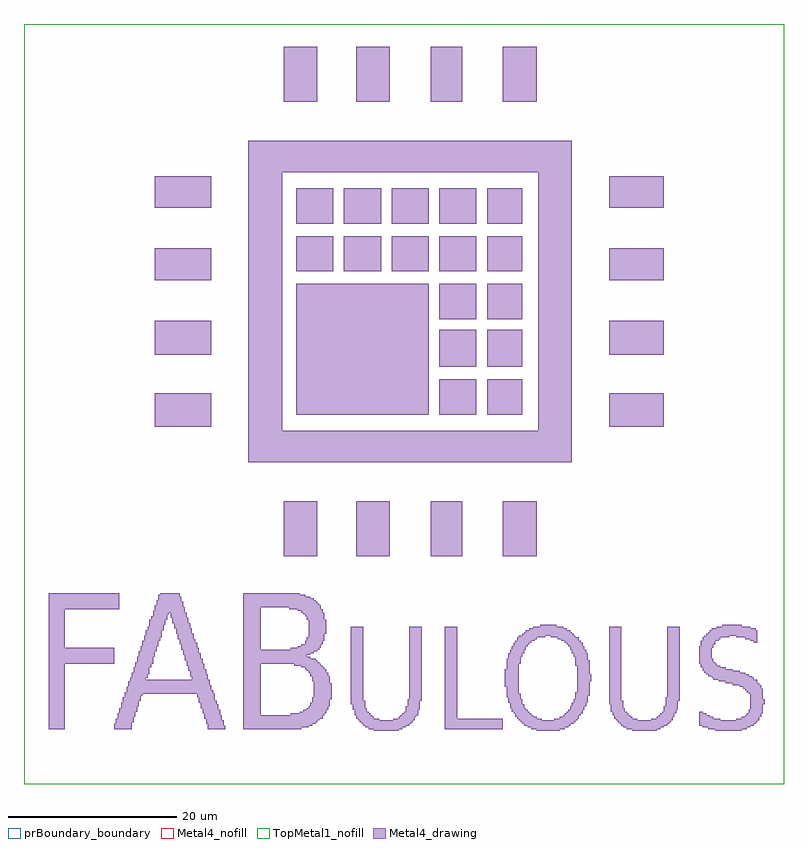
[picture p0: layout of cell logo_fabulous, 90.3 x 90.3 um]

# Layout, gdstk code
import gdstk
lib = gdstk.Library(unit=1e-6, precision=1e-09)
def R(c, l, rs):  # rectangles x0, y0, x1, y1
    for r in rs: c.add(gdstk.rectangle(r[:2], r[2:], *l))
def A(c, l, x, y, w, h, nx, ny, dx, dy):  # array of equal rectangles
    R(c, l, [(x+i*dx, y+j*dy, x+i*dx+w, y+j*dy+h) for i in range(nx) for j in range(ny)])
def P(c, l, *ps):  # polygons
    for p in ps: c.add(gdstk.Polygon(p, *l))
Metal4_drawing = (50, 0)
Metal4_nofill = (50, 23)
TopMetal1_nofill = (126, 23)
prBoundary_boundary = (189, 4)

logo_fabulous = lib.new_cell('logo_fabulous')
A(logo_fabulous, Metal4_drawing, 55.02, 55.23, 4.2, 4.2, 1, 3, 0, 5.67)
A(logo_fabulous, Metal4_drawing, 32.34, 60.9, 4.41, 4.2, 4, 2, 5.67, 5.67)
R(logo_fabulous, Metal4_drawing, [(30.87,27.09,34.86,33.6), (39.48,27.09,43.47,33.6), (48.3,27.09,52.08,33.6), (56.91,27.09,60.9,33.6), (15.54,42.42,22.26,46.41), (69.51,42.42,76.02,46.41), (32.34,43.89,48.09,59.43), (49.35,43.89,53.76,48.09), (55.02,43.89,59.22,48.09), (49.35,49.56,53.76,53.97), (55.02,49.56,59.22,53.97), (15.54,51.03,22.26,55.02), (69.51,51.03,76.02,55.02), (49.35,55.23,53.76,59.43), (15.54,59.85,22.26,63.63), (69.51,59.85,76.02,63.63), (15.54,68.46,22.26,72.24), (69.51,68.46,76.02,72.24), (30.87,81.06,34.86,87.57), (39.48,81.06,43.47,87.57), (48.3,81.06,52.08,87.57), (56.91,81.06,60.9,87.57)])
P(logo_fabulous, Metal4_drawing, [(41.58,6.3),(41.58,6.51),(40.95,6.51),(40.95,6.72),(40.53,6.72),(40.53,6.93),(40.32,6.93),(40.32,7.14),(40.11,7.14),(40.11,7.35),(39.9,7.35),(39.9,7.56),(39.69,7.56),(39.69,7.77),(39.48,7.77),(39.48,8.19),(39.27,8.19),(39.27,8.82),(39.06,8.82),(39.06,9.45),(38.85,9.45),(38.85,18.69),(40.32,18.69),(40.32,9.87),(40.53,9.87),(40.53,9.03),(40.74,9.03),(40.74,8.61),(40.95,8.61),(40.95,8.4),(41.16,8.4),(41.16,8.19),(41.37,8.19),(41.37,7.98),(41.58,7.98),(41.58,7.77),(42.21,7.77),(42.21,7.56),(43.89,7.56),(43.89,7.77),(44.52,7.77),(44.52,7.98),(44.73,7.98),(44.73,8.19),(44.94,8.19),(44.94,8.4),(45.15,8.4),(45.15,8.61),(45.36,8.61),(45.36,9.24),(45.57,9.24),(45.57,10.08),(45.78,10.08),(45.78,18.69),(47.25,18.69),(47.25,9.87),(47.04,9.87),(47.04,8.82),(46.83,8.82),(46.83,8.19),(46.62,8.19),(46.62,7.98),(46.41,7.98),(46.41,7.56),(46.2,7.56),(46.2,7.35),(45.99,7.35),(45.99,7.14),(45.78,7.14),(45.78,6.93),(45.36,6.93),(45.36,6.72),(44.94,6.72),(44.94,6.51),(44.52,6.51),(44.52,6.3)],
  [(49.98,6.51),(49.98,18.69),(51.45,18.69),(51.45,7.77),(56.91,7.77),(56.91,6.51)],
  [(72.24,6.3),(72.24,6.51),(71.61,6.51),(71.61,6.72),(71.19,6.72),(71.19,6.93),(70.98,6.93),(70.98,7.14),(70.77,7.14),(70.77,7.35),(70.56,7.35),(70.56,7.56),(70.35,7.56),(70.35,7.77),(70.14,7.77),(70.14,8.19),(69.93,8.19),(69.93,8.61),(69.72,8.61),(69.72,9.45),(69.51,9.45),(69.51,18.69),(70.98,18.69),(70.98,9.87),(71.19,9.87),(71.19,9.03),(71.4,9.03),(71.4,8.61),(71.61,8.61),(71.61,8.4),(71.82,8.4),(71.82,8.19),(72.03,8.19),(72.03,7.98),(72.24,7.98),(72.24,7.77),(72.87,7.77),(72.87,7.56),(74.55,7.56),(74.55,7.77),(75.18,7.77),(75.18,7.98),(75.39,7.98),(75.39,8.19),(75.6,8.19),(75.6,8.4),(75.81,8.4),(75.81,8.61),(76.02,8.61),(76.02,9.24),(76.23,9.24),(76.23,10.29),(76.44,10.29),(76.44,18.69),(77.91,18.69),(77.91,9.87),(77.7,9.87),(77.7,8.82),(77.49,8.82),(77.49,8.4),(77.28,8.4),(77.28,7.98),(77.07,7.98),(77.07,7.56),(76.86,7.56),(76.86,7.35),(76.65,7.35),(76.65,7.14),(76.44,7.14),(76.44,6.93),(76.02,6.93),(76.02,6.72),(75.6,6.72),(75.6,6.51),(75.18,6.51),(75.18,6.3)],
  [(60.9,6.3),(60.9,6.51),(60.27,6.51),(60.27,6.72),(59.85,6.72),(59.85,6.93),(59.43,6.93),(59.43,7.14),(59.22,7.14),(59.22,7.35),(59.01,7.35),(59.01,7.56),(58.8,7.56),(58.8,7.77),(58.59,7.77),(58.59,7.98),(58.38,7.98),(58.38,8.4),(58.17,8.4),(58.17,8.61),(57.96,8.61),(57.96,9.03),(57.75,9.03),(57.75,9.66),(57.54,9.66),(57.54,10.29),(57.33,10.29),(57.33,11.55),(57.12,11.55),(57.12,13.65),(57.33,13.65),(57.33,14.91),(57.54,14.91),(57.54,15.54),(57.75,15.54),(57.75,15.96),(57.96,15.96),(57.96,16.38),(58.17,16.38),(58.17,16.8),(58.38,16.8),(58.38,17.01),(58.59,17.01),(58.59,17.43),(58.8,17.43),(58.8,17.64),(61.95,17.64),(61.95,17.43),(60.9,17.43),(60.9,17.22),(60.69,17.22),(60.69,17.01),(60.27,17.01),(60.27,16.8),(60.06,16.8),(60.06,16.59),(59.85,16.59),(59.85,16.38),(59.64,16.38),(59.64,15.96),(59.43,15.96),(59.43,15.54),(59.22,15.54),(59.22,15.12),(59.01,15.12),(59.01,14.28),(58.8,14.28),(58.8,10.71),(59.01,10.71),(59.01,10.08),(59.22,10.08),(59.22,9.45),(59.43,9.45),(59.43,9.03),(59.64,9.03),(59.64,8.82),(59.85,8.82),(59.85,8.61),(60.06,8.61),(60.06,8.4),(60.27,8.4),(60.27,8.19),(60.48,8.19),(60.48,7.98),(60.9,7.98),(60.9,7.77),(61.53,7.77),(61.53,7.56),(63,7.56),(63,7.77),(63.63,7.77),(63.63,7.98),(64.05,7.98),(64.05,8.19),(64.26,8.19),(64.26,8.4),(64.47,8.4),(64.47,8.61),(64.68,8.61),(64.68,8.82),(64.89,8.82),(64.89,9.24),(65.1,9.24),(65.1,9.66),(65.31,9.66),(65.31,10.08),(65.52,10.08),(65.52,10.92),(65.73,10.92),(65.73,14.07),(65.52,14.07),(65.52,15.12),(65.31,15.12),(65.31,15.54),(65.1,15.54),(65.1,15.96),(64.89,15.96),(64.89,16.38),(64.68,16.38),(64.68,16.59),(64.47,16.59),(64.47,16.8),(64.26,16.8),(64.26,17.01),(63.84,17.01),(63.84,17.22),(63.42,17.22),(63.42,17.43),(62.58,17.43),(62.58,17.64),(59.22,17.64),(59.22,17.85),(59.43,17.85),(59.43,18.06),(59.64,18.06),(59.64,18.27),(60.06,18.27),(60.06,18.48),(60.48,18.48),(60.48,18.69),(61.32,18.69),(61.32,18.9),(63.21,18.9),(63.21,18.69),(64.05,18.69),(64.05,18.48),(64.47,18.48),(64.47,18.27),(64.89,18.27),(64.89,18.06),(65.1,18.06),(65.1,17.85),(65.31,17.85),(65.31,17.64),(65.52,17.64),(65.52,17.43),(65.94,17.43),(65.94,17.01),(66.15,17.01),(66.15,16.8),(66.36,16.8),(66.36,16.38),(66.57,16.38),(66.57,15.96),(66.78,15.96),(66.78,15.54),(66.99,15.54),(66.99,14.7),(67.2,14.7),(67.2,13.02),(67.41,13.02),(67.41,12.18),(67.2,12.18),(67.2,10.5),(66.99,10.5),(66.99,9.66),(66.78,9.66),(66.78,9.24),(66.57,9.24),(66.57,8.82),(66.36,8.82),(66.36,8.4),(66.15,8.4),(66.15,8.19),(65.94,8.19),(65.94,7.77),(65.73,7.77),(65.73,7.56),(65.52,7.56),(65.52,7.35),(65.31,7.35),(65.31,7.14),(64.89,7.14),(64.89,6.93),(64.68,6.93),(64.68,6.72),(64.26,6.72),(64.26,6.51),(63.63,6.51),(63.63,6.3)],
  [(82.11,6.3),(82.11,6.51),(81.27,6.51),(81.27,6.72),(80.64,6.72),(80.64,6.93),(80.22,6.93),(80.22,8.61),(80.64,8.61),(80.64,8.4),(81.06,8.4),(81.06,8.19),(81.48,8.19),(81.48,7.98),(81.9,7.98),(81.9,7.77),(82.74,7.77),(82.74,7.56),(84.63,7.56),(84.63,7.77),(85.26,7.77),(85.26,7.98),(85.68,7.98),(85.68,8.19),(85.89,8.19),(85.89,8.4),(86.1,8.4),(86.1,8.82),(86.31,8.82),(86.31,10.71),(86.1,10.71),(86.1,10.92),(85.89,10.92),(85.89,11.13),(85.68,11.13),(85.68,11.34),(85.47,11.34),(85.47,11.55),(85.05,11.55),(85.05,11.76),(84.21,11.76),(84.21,11.97),(83.37,11.97),(83.37,12.18),(82.53,12.18),(82.53,12.39),(81.9,12.39),(81.9,12.6),(81.69,12.6),(81.69,12.81),(81.27,12.81),(81.27,13.02),(81.06,13.02),(81.06,13.23),(80.85,13.23),(80.85,13.44),(80.64,13.44),(80.64,13.86),(80.43,13.86),(80.43,14.28),(80.22,14.28),(80.22,16.38),(80.43,16.38),(80.43,17.01),(80.64,17.01),(80.64,17.43),(80.85,17.43),(80.85,17.64),(81.06,17.64),(81.06,17.85),(81.27,17.85),(81.27,18.06),(81.48,18.06),(81.48,18.27),(81.69,18.27),(81.69,18.48),(82.32,18.48),(82.32,18.69),(82.95,18.69),(82.95,18.9),(85.26,18.9),(85.26,18.69),(86.31,18.69),(86.31,18.48),(86.94,18.48),(86.94,18.27),(87.15,18.27),(87.15,16.8),(86.73,16.8),(86.73,17.01),(86.31,17.01),(86.31,17.22),(85.68,17.22),(85.68,17.43),(84.63,17.43),(84.63,17.64),(83.79,17.64),(83.79,17.43),(82.74,17.43),(82.74,17.22),(82.53,17.22),(82.53,17.01),(82.11,17.01),(82.11,16.59),(81.9,16.59),(81.9,16.17),(81.69,16.17),(81.69,14.91),(81.9,14.91),(81.9,14.49),(82.11,14.49),(82.11,14.28),(82.32,14.28),(82.32,14.07),(82.74,14.07),(82.74,13.86),(83.37,13.86),(83.37,13.65),(84.21,13.65),(84.21,13.44),(85.05,13.44),(85.05,13.23),(85.68,13.23),(85.68,13.02),(86.1,13.02),(86.1,12.81),(86.52,12.81),(86.52,12.6),(86.73,12.6),(86.73,12.39),(87.15,12.39),(87.15,11.97),(87.36,11.97),(87.36,11.76),(87.57,11.76),(87.57,11.34),(87.78,11.34),(87.78,10.08),(87.99,10.08),(87.99,9.45),(87.78,9.45),(87.78,8.4),(87.57,8.4),(87.57,7.98),(87.36,7.98),(87.36,7.56),(87.15,7.56),(87.15,7.35),(86.94,7.35),(86.94,7.14),(86.73,7.14),(86.73,6.93),(86.31,6.93),(86.31,6.72),(85.89,6.72),(85.89,6.51),(85.26,6.51),(85.26,6.3)],
  [(2.94,6.51),(2.94,22.68),(11.34,22.68),(11.34,20.79),(4.83,20.79),(4.83,16.17),(10.71,16.17),(10.71,14.28),(4.83,14.28),(4.83,6.51)],
  [(10.71,6.51),(10.71,7.14),(10.92,7.14),(10.92,7.77),(11.13,7.77),(11.13,8.4),(11.34,8.4),(11.34,9.03),(11.55,9.03),(11.55,9.66),(11.76,9.66),(11.76,10.29),(11.97,10.29),(11.97,10.92),(12.18,10.92),(12.18,11.55),(12.39,11.55),(12.39,12.18),(12.6,12.18),(12.6,12.6),(12.81,12.6),(12.81,13.23),(13.02,13.23),(13.02,13.86),(13.23,13.86),(13.23,14.49),(13.44,14.49),(13.44,15.12),(13.65,15.12),(13.65,15.75),(13.86,15.75),(13.86,16.38),(14.07,16.38),(14.07,17.01),(14.28,17.01),(14.28,17.64),(14.49,17.64),(14.49,18.27),(14.7,18.27),(14.7,18.69),(14.91,18.69),(14.91,19.53),(15.12,19.53),(15.12,19.95),(15.33,19.95),(15.33,20.37),(17.22,20.37),(17.22,20.16),(17.01,20.16),(17.01,19.53),(16.8,19.53),(16.8,18.9),(16.59,18.9),(16.59,18.27),(16.38,18.27),(16.38,17.43),(16.17,17.43),(16.17,17.01),(15.96,17.01),(15.96,16.38),(15.75,16.38),(15.75,15.75),(15.54,15.75),(15.54,15.12),(15.33,15.12),(15.33,14.28),(15.12,14.28),(15.12,13.86),(14.91,13.86),(14.91,13.02),(14.7,13.02),(14.7,12.6),(14.49,12.6),(14.49,12.39),(19.95,12.39),(19.95,12.81),(19.74,12.81),(19.74,13.44),(19.53,13.44),(19.53,14.07),(19.32,14.07),(19.32,14.7),(19.11,14.7),(19.11,15.33),(18.9,15.33),(18.9,15.96),(18.69,15.96),(18.69,16.59),(18.48,16.59),(18.48,17.22),(18.27,17.22),(18.27,17.85),(18.06,17.85),(18.06,18.48),(17.85,18.48),(17.85,19.11),(17.64,19.11),(17.64,19.74),(17.43,19.74),(17.43,20.37),(15.33,20.37),(15.33,20.58),(15.54,20.58),(15.54,21.21),(15.75,21.21),(15.75,21.84),(15.96,21.84),(15.96,22.47),(16.17,22.47),(16.17,22.68),(18.48,22.68),(18.48,22.26),(18.69,22.26),(18.69,21.63),(18.9,21.63),(18.9,21),(19.11,21),(19.11,20.37),(19.32,20.37),(19.32,19.74),(19.53,19.74),(19.53,19.11),(19.74,19.11),(19.74,18.48),(19.95,18.48),(19.95,17.85),(20.16,17.85),(20.16,17.22),(20.37,17.22),(20.37,16.8),(20.58,16.8),(20.58,16.17),(20.79,16.17),(20.79,15.54),(21,15.54),(21,14.91),(21.21,14.91),(21.21,14.28),(21.42,14.28),(21.42,13.65),(21.63,13.65),(21.63,13.02),(21.84,13.02),(21.84,12.39),(22.05,12.39),(22.05,11.76),(22.26,11.76),(22.26,11.13),(22.47,11.13),(22.47,10.71),(22.68,10.71),(22.68,9.87),(22.89,9.87),(22.89,9.45),(23.1,9.45),(23.1,8.82),(23.31,8.82),(23.31,8.19),(23.52,8.19),(23.52,7.56),(23.73,7.56),(23.73,6.93),(23.94,6.93),(23.94,6.51),(21.84,6.51),(21.84,7.14),(21.63,7.14),(21.63,7.77),(21.42,7.77),(21.42,8.4),(21.21,8.4),(21.21,9.03),(21,9.03),(21,9.66),(20.79,9.66),(20.79,10.29),(20.58,10.29),(20.58,10.71),(14.07,10.71),(14.07,10.5),(13.86,10.5),(13.86,9.87),(13.65,9.87),(13.65,9.24),(13.44,9.24),(13.44,8.61),(13.23,8.61),(13.23,7.98),(13.02,7.98),(13.02,7.35),(12.81,7.35),(12.81,6.51)],
  [(26.04,6.51),(26.04,14.28),(28.14,14.28),(28.14,8.19),(31.71,8.19),(31.71,8.4),(32.76,8.4),(32.76,8.61),(33.18,8.61),(33.18,8.82),(33.6,8.82),(33.6,9.03),(33.81,9.03),(33.81,9.24),(34.02,9.24),(34.02,9.66),(34.23,9.66),(34.23,10.29),(34.44,10.29),(34.44,12.18),(34.23,12.18),(34.23,12.81),(34.02,12.81),(34.02,13.23),(33.81,13.23),(33.81,13.44),(33.6,13.44),(33.6,13.65),(33.39,13.65),(33.39,13.86),(32.97,13.86),(32.97,14.07),(32.13,14.07),(32.13,14.28),(26.04,14.28),(26.04,21),(28.14,21),(28.14,15.96),(31.71,15.96),(31.71,16.17),(32.55,16.17),(32.55,16.38),(32.97,16.38),(32.97,16.59),(33.39,16.59),(33.39,17.01),(33.6,17.01),(33.6,17.43),(33.81,17.43),(33.81,19.53),(33.6,19.53),(33.6,19.95),(33.39,19.95),(33.39,20.16),(33.18,20.16),(33.18,20.37),(32.97,20.37),(32.97,20.58),(32.55,20.58),(32.55,20.79),(31.5,20.79),(31.5,21),(26.04,21),(26.04,22.68),(32.76,22.68),(32.76,22.47),(33.39,22.47),(33.39,22.26),(34.02,22.26),(34.02,22.05),(34.44,22.05),(34.44,21.84),(34.65,21.84),(34.65,21.63),(34.86,21.63),(34.86,21.42),(35.07,21.42),(35.07,21.21),(35.28,21.21),(35.28,20.79),(35.49,20.79),(35.49,20.37),(35.7,20.37),(35.7,19.53),(35.91,19.53),(35.91,17.85),(35.7,17.85),(35.7,17.01),(35.49,17.01),(35.49,16.59),(35.28,16.59),(35.28,16.17),(35.07,16.17),(35.07,15.96),(34.86,15.96),(34.86,15.75),(34.44,15.75),(34.44,15.54),(34.02,15.54),(34.02,15.33),(33.6,15.33),(33.6,15.12),(34.02,15.12),(34.02,14.91),(34.65,14.91),(34.65,14.7),(34.86,14.7),(34.86,14.49),(35.07,14.49),(35.07,14.28),(35.28,14.28),(35.28,14.07),(35.49,14.07),(35.49,13.86),(35.7,13.86),(35.7,13.65),(35.91,13.65),(35.91,13.23),(36.12,13.23),(36.12,12.81),(36.33,12.81),(36.33,11.97),(36.54,11.97),(36.54,10.08),(36.33,10.08),(36.33,9.24),(36.12,9.24),(36.12,8.82),(35.91,8.82),(35.91,8.4),(35.7,8.4),(35.7,8.19),(35.49,8.19),(35.49,7.77),(35.07,7.77),(35.07,7.56),(34.86,7.56),(34.86,7.35),(34.65,7.35),(34.65,7.14),(34.23,7.14),(34.23,6.93),(33.81,6.93),(33.81,6.72),(32.97,6.72),(32.97,6.51)],
  [(26.67,38.22),(26.67,72.66),(30.66,72.66),(30.66,42),(61.11,42),(61.11,72.66),(26.67,72.66),(26.67,76.44),(65.1,76.44),(65.1,38.22)])
R(logo_fabulous, Metal4_nofill, [(0,0,90.3,90.3)])
R(logo_fabulous, TopMetal1_nofill, [(0,0,90.3,90.3)])
R(logo_fabulous, prBoundary_boundary, [(0,0,90.3,90.3)])

lib.write_gds('logo_fabulous.gds')
